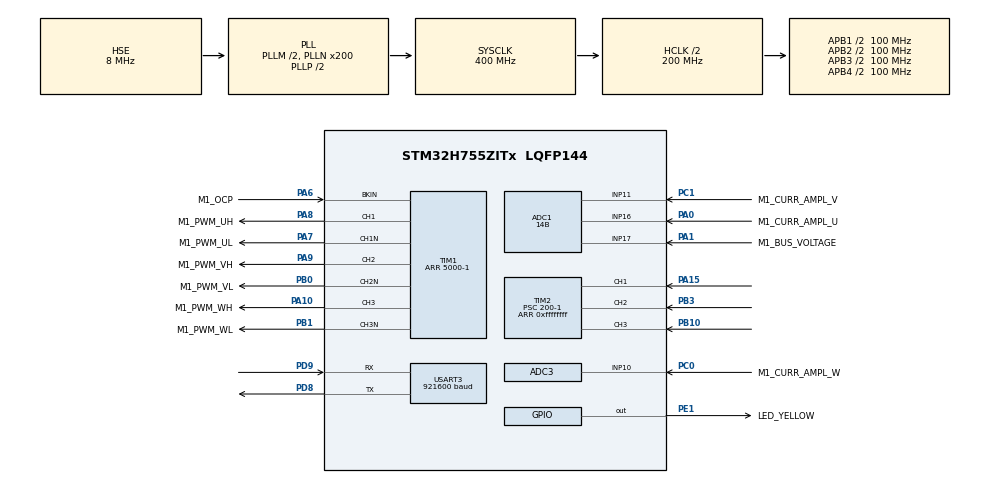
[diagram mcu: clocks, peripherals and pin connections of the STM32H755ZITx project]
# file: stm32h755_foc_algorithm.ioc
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ADC1.Channel-2\#ChannelRegularConversion=ADC_CHANNEL_11
ADC1.EnableInjectedConversion=ENABLE
ADC1.ExternalTrigInjecConv=ADC_EXTERNALTRIGINJEC_T1_TRGO
ADC1.InjNumberOfConversion=2
ADC1.InjectedChannel-3\#ChannelInjectedConversion=ADC_CHANNEL_11
ADC1.InjectedChannel-4\#ChannelInjectedConversion=ADC_CHANNEL_11
ADC1.InjectedConvMode=Discontinuous
ADC1.InjectedOffsetNumber-3\#ChannelInjectedConversion=ADC_OFFSET_NONE
ADC1.InjectedOffsetNumber-4\#ChannelInjectedConversion=ADC_OFFSET_NONE
ADC1.InjectedOffsetSaturation-3\#ChannelInjectedConversion=DISABLE
ADC1.InjectedOffsetSaturation-4\#ChannelInjectedConversion=DISABLE
ADC1.InjectedRank-3\#ChannelInjectedConversion=1
ADC1.InjectedRank-4\#ChannelInjectedConversion=2
ADC1.InjectedSamplingTime-3\#ChannelInjectedConversion=ADC_SAMPLETIME_1CYCLE_5
ADC1.InjectedSamplingTime-4\#ChannelInjectedConversion=ADC_SAMPLETIME_1CYCLE_5
ADC1.LeftBitShift=ADC_LEFTBITSHIFT_2
ADC1.NbrOfConversionFlag=1
ADC1.OffsetNumber-2\#ChannelRegularConversion=ADC_OFFSET_NONE
ADC1.OffsetSignedSaturation-2\#ChannelRegularConversion=DISABLE
ADC1.Rank-2\#ChannelRegularConversion=1
ADC1.Resolution=ADC_RESOLUTION_14B
ADC1.SamplingTime-2\#ChannelRegularConversion=ADC_SAMPLETIME_1CYCLE_5
ADC1.master=1
ADC3.EnableInjectedConversion=ENABLE
ADC3.EnableRegularConversion=DISABLE
ADC3.ExternalTrigInjecConv=ADC_EXTERNALTRIGINJEC_T1_TRGO
ADC3.InjNumberOfConversion=2
ADC3.InjectedChannel-3\#ChannelInjectedConversion=ADC_CHANNEL_11
ADC3.InjectedChannel-4\#ChannelInjectedConversion=ADC_CHANNEL_11
ADC3.InjectedConvMode=Discontinuous
ADC3.InjectedOffsetNumber-3\#ChannelInjectedConversion=ADC_OFFSET_NONE
ADC3.InjectedOffsetNumber-4\#ChannelInjectedConversion=ADC_OFFSET_NONE
ADC3.InjectedOffsetSaturation-3\#ChannelInjectedConversion=DISABLE
ADC3.InjectedOffsetSaturation-4\#ChannelInjectedConversion=DISABLE
ADC3.InjectedRank-3\#ChannelInjectedConversion=1
ADC3.InjectedRank-4\#ChannelInjectedConversion=2
ADC3.InjectedSamplingTime-3\#ChannelInjectedConversion=ADC_SAMPLETIME_1CYCLE_5
ADC3.InjectedSamplingTime-4\#ChannelInjectedConversion=ADC_SAMPLETIME_1CYCLE_5
ADC3.LeftBitShift=ADC_LEFTBITSHIFT_2
ADC3.Resolution=ADC_RESOLUTION_14B
CORTEX_M7.default_mode_Activation=1
CortexM4.IPs=CORTEX_M4\:I,FATFS_M4\:I,FREERTOS_M4\:I,IWDG2\:I,OPENAMP_M4\:I,PDM2PCM_M4\:I,PWR,RCC,RESMGR_UTILITY,SYS_M4\:I,USB_DEVICE_M4\:I,USB_HOST_M4\:I,VREFBUF,WWDG2\:I,GPIO,DMA,BDMA,MDMA,NVIC2\:I
CortexM7.IPs=CORTEX_M7\:I,FATFS_M7\:I,FREERTOS_M7\:I,IWDG1\:I,OPENAMP_M7\:I,PDM2PCM_M7\:I,PWR\:I,RCC\:I,RESMGR_UTILITY\:I,SYS\:I,USB_DEVICE_M7\:I,USB_HOST_M7\:I,VREFBUF\:I,WWDG1\:I,GPIO\:I,DMA\:I,BDMA\:I,MDMA\:I,NVIC1\:I,USART3\:I,TIM1\:I,TIM2\:I,TIM6\:I,ADC1\:I,ADC3\:I
CortexM7.Pins=PE1
Mcu.Family=STM32H7
Mcu.Name=STM32H755ZITx
Mcu.Package=LQFP144
NVIC1.ADC_IRQn=true\:0\:0\:false\:false\:true\:true\:true\:true
NVIC1.PriorityGroup=NVIC_PRIORITYGROUP_4
NVIC1.TIM1_UP_IRQn=true\:0\:0\:false\:false\:true\:true\:true\:true
NVIC1.TIM2_IRQn=true\:0\:0\:false\:false\:true\:true\:true\:true
NVIC1.TIM6_DAC_IRQn=true\:0\:0\:false\:false\:true\:true\:true\:true
NVIC1.USART3_IRQn=true\:0\:0\:false\:false\:true\:true\:true\:true
NVIC2.PriorityGroup=NVIC_PRIORITYGROUP_4
PA0.GPIO_Label=M1_CURR_AMPL_U
PA0.Mode=IN16-Single-Ended
PA0.PinAttribute=CortexM7
PA0.Signal=ADC1_INP16
PA1.GPIO_Label=M1_BUS_VOLTAGE
PA1.Mode=IN17-Single-Ended
PA1.PinAttribute=CortexM7
PA1.Signal=ADC1_INP17
PA10.GPIO_Label=M1_PWM_WH
PA10.GPIO_PuPd=GPIO_PULLDOWN
PA10.GPIO_Speed=GPIO_SPEED_FREQ_HIGH
PA10.PinAttribute=CortexM7
PA10.Signal=S_TIM1_CH3
PA15\ (JTDI).PinAttribute=CortexM7
PA15\ (JTDI).Signal=S_TIM2_CH1_ETR
PA6.GPIO_Label=M1_OCP
PA6.GPIO_PuPd=GPIO_PULLUP
PA6.Mode=Activate-Break-Input
PA6.PinAttribute=CortexM7
PA6.Signal=TIM1_BKIN
PA7.GPIO_Label=M1_PWM_UL
PA7.GPIO_PuPd=GPIO_PULLUP
PA7.GPIO_Speed=GPIO_SPEED_FREQ_HIGH
PA7.Mode=PWM Generation1 CH1 CH1N
PA7.PinAttribute=CortexM7
PA7.Signal=TIM1_CH1N
PA8.GPIO_Label=M1_PWM_UH
PA8.GPIO_PuPd=GPIO_PULLDOWN
PA8.GPIO_Speed=GPIO_SPEED_FREQ_HIGH
PA8.PinAttribute=CortexM7
PA8.Signal=S_TIM1_CH1
PA9.GPIO_Label=M1_PWM_VH
PA9.GPIO_PuPd=GPIO_PULLDOWN
PA9.GPIO_Speed=GPIO_SPEED_FREQ_HIGH
PA9.PinAttribute=CortexM7
PA9.Signal=S_TIM1_CH2
PB0.GPIO_Label=M1_PWM_VL
PB0.GPIO_PuPd=GPIO_PULLUP
PB0.GPIO_Speed=GPIO_SPEED_FREQ_HIGH
PB0.Mode=PWM Generation2 CH2 CH2N
PB0.PinAttribute=CortexM7
PB0.Signal=TIM1_CH2N
PB1.GPIO_Label=M1_PWM_WL
PB1.GPIO_PuPd=GPIO_PULLUP
PB1.GPIO_Speed=GPIO_SPEED_FREQ_HIGH
PB1.Mode=PWM Generation3 CH3 CH3N
PB1.PinAttribute=CortexM7
PB1.Signal=TIM1_CH3N
PB10.PinAttribute=CortexM7
PB10.Signal=S_TIM2_CH3
PB3\ (JTDO/TRACESWO).PinAttribute=CortexM7
PB3\ (JTDO/TRACESWO).Signal=S_TIM2_CH2
PC0.GPIO_Label=M1_CURR_AMPL_W
PC0.PinAttribute=CortexM7
PC0.Signal=ADCx_INP10
PC1.GPIO_Label=M1_CURR_AMPL_V
PC1.PinAttribute=CortexM7
PC1.Signal=ADCx_INP11
PD8.Mode=Asynchronous
PD8.PinAttribute=CortexM7
PD8.Signal=USART3_TX
PD9.Mode=Asynchronous
PD9.PinAttribute=CortexM7
PD9.Signal=USART3_RX
PE1.GPIO_Label=LED_YELLOW
PE1.GPIO_ModeDefaultOutputPP=GPIO_MODE_OUTPUT_PP
PE1.GPIO_PuPd=GPIO_PULLUP
PE1.PinAttribute=CortexM7
PE1.PinState=GPIO_PIN_SET
PE1.Signal=GPIO_Output
PH0-OSC_IN\ (PH0).Mode=HSE-External-Clock-Source
PH0-OSC_IN\ (PH0).PinAttribute=Free
PH0-OSC_IN\ (PH0).Signal=RCC_OSC_IN
ProjectManager.HeapSize=M4-0x200,M7-0x200
ProjectManager.StackSize=M4-0x400,M7-0x400
ProjectManager.TargetToolchain=STM32CubeIDE
RCC.ADCFreq_Value=48000000
RCC.APB1Freq_Value=100000000
RCC.APB2Freq_Value=100000000
RCC.APB3Freq_Value=100000000
RCC.APB4Freq_Value=100000000
RCC.CortexFreq_Value=400000000
RCC.D1PPRE=RCC_APB3_DIV2
RCC.D2PPRE1=RCC_APB1_DIV2
RCC.D2PPRE2=RCC_APB2_DIV2
RCC.D3PPRE=RCC_APB4_DIV2
RCC.DIVM1=2
RCC.DIVM2=4
RCC.DIVN1=200
RCC.DIVN2=96
RCC.DIVP2=4
RCC.HCLKFreq_Value=200000000
RCC.HPRE=RCC_HCLK_DIV2
RCC.HSE_VALUE=8000000
RCC.PLLSourceVirtual=RCC_PLLSOURCE_HSE
RCC.SYSCLKFreq_VALUE=400000000
RCC.SYSCLKSource=RCC_SYSCLKSOURCE_PLLCLK
RCC.USBFreq_Value=400000000
SH.ADCx_INP10.0=ADC3_INP10,IN10-Single-Ended
SH.ADCx_INP11.0=ADC1_INP11,IN11-Single-Ended
SH.ADCx_INP11.1=ADC3_INP11,IN11-Single-Ended
SH.S_TIM1_CH1.0=TIM1_CH1,PWM Generation1 CH1 CH1N
SH.S_TIM1_CH2.0=TIM1_CH2,PWM Generation2 CH2 CH2N
SH.S_TIM1_CH3.0=TIM1_CH3,PWM Generation3 CH3 CH3N
SH.S_TIM2_CH1_ETR.0=TIM2_CH1,Xored_Inputs_Hall_Sensor_Interface
SH.S_TIM2_CH2.0=TIM2_CH2,Xored_Inputs_Hall_Sensor_Interface
SH.S_TIM2_CH3.0=TIM2_CH3,Xored_Inputs_Hall_Sensor_Interface
SYS.userName=SYS_M7
TIM1.AutoReloadPreload=TIM_AUTORELOAD_PRELOAD_ENABLE
TIM1.BreakFilter=15
TIM1.BreakPolarity=TIM_BREAKPOLARITY_LOW
TIM1.Channel-PWM\ Generation1\ CH1\ CH1N=TIM_CHANNEL_1
TIM1.Channel-PWM\ Generation2\ CH2\ CH2N=TIM_CHANNEL_2
TIM1.Channel-PWM\ Generation3\ CH3\ CH3N=TIM_CHANNEL_3
TIM1.Channel-PWM\ Generation4\ No\ Output=TIM_CHANNEL_4
TIM1.CounterMode=TIM_COUNTERMODE_CENTERALIGNED1
TIM1.DeadTime=100
TIM1.LockLevel=TIM_LOCKLEVEL_OFF
TIM1.OffStateIDLEMode=TIM_OSSI_ENABLE
TIM1.OffStateRunMode=TIM_OSSR_ENABLE
TIM1.Period=5000-1
TIM1.RepetitionCounter=1
TIM1.SourceBRKDigInput=TIM_BREAKINPUTSOURCE_DISABLE
TIM1.TIM_MasterOutputTrigger=TIM_TRGO_UPDATE
TIM2.AutoReloadPreload=TIM_AUTORELOAD_PRELOAD_ENABLE
TIM2.IC1Filter=15
TIM2.Period=0xffffffff
TIM2.Prescaler=200-1
TIM6.AutoReloadPreload=TIM_AUTORELOAD_PRELOAD_ENABLE
TIM6.Period=10000-1
TIM6.Prescaler=20000-1
TIM6.TIM_MasterOutputTrigger=TIM_TRGO_UPDATE
USART3.BaudRate=921600
USART3.VirtualMode-Asynchronous=VM_ASYNC
VP_SYS_M4_VS_Systick.Mode=SysTick
VP_TIM1_VS_no_output4.Mode=PWM Generation4 No Output
VP_TIM2_VS_ClockSourceINT.Mode=Internal
VP_TIM6_VS_ClockSourceINT.Mode=Enable_Timer
board=custom

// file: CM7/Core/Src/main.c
/* USER CODE BEGIN Header */
/**
  ******************************************************************************
  * @file           : main.c
  * @brief          : Main program body
  ******************************************************************************
  * @attention
  *
  * Copyright (c) 2026 STMicroelectronics.
  * All rights reserved.
  *
  * This software is licensed under terms that can be found in the LICENSE file
  * in the root directory of this software component.
  * If no LICENSE file comes with this software, it is provided AS-IS.
  *
  ******************************************************************************
  */
/* USER CODE END Header */
#include "main.h"
#include "adc.h"
#include "tim.h"
#include "usart.h"
#include "gpio.h"

/* USER CODE BEGIN Includes */
#include <stdio.h>

/* USER CODE END Includes */

/* USER CODE BEGIN PD */

/* DUAL_CORE_BOOT_SYNC_SEQUENCE: Define for dual core boot synchronization    */
/*                             demonstration code based on hardware semaphore */
/* This define is present in both CM7/CM4 projects                            */
/* To comment when developping/debugging on a single core                     */
#define DUAL_CORE_BOOT_SYNC_SEQUENCE

#if defined(DUAL_CORE_BOOT_SYNC_SEQUENCE)
#ifndef HSEM_ID_0
#define HSEM_ID_0 (0U) /* HW semaphore 0*/
#endif
#endif /* DUAL_CORE_BOOT_SYNC_SEQUENCE */

/* USER CODE END PD */

/* USER CODE BEGIN PV */
// Unprocessed data just from the ADC registers
volatile uint16_t 	raw_PhaseA_current[1] = {0};
volatile uint16_t	raw_PhaseB_current[1] = {0};
volatile uint16_t	raw_PhaseC_current[1] = {0};

// Processed, signed 16-bit integers after subtracting the 1.65V offset
volatile int16_t		PhaseA_current = 0;
volatile int16_t		PhaseB_current = 0;
volatile int16_t		phaseC_current = 0;

volatile uint16_t		timer6_flag= 0;
/* USER CODE END PV */

void SystemClock_Config(void);
void PeriphCommonClock_Config(void);
static void MPU_Config(void);

int main(void)
{

/* USER CODE BEGIN Boot_Mode_Sequence_0 */
#if defined(DUAL_CORE_BOOT_SYNC_SEQUENCE)
  int32_t timeout;
#endif /* DUAL_CORE_BOOT_SYNC_SEQUENCE */
/* USER CODE END Boot_Mode_Sequence_0 */

  /* MPU Configuration--------------------------------------------------------*/
  MPU_Config();

/* USER CODE BEGIN Boot_Mode_Sequence_1 */
#if defined(DUAL_CORE_BOOT_SYNC_SEQUENCE)
  /* Wait until CPU2 boots and enters in stop mode or timeout*/
  timeout = 0x0FFFFFFF;
  while((__HAL_RCC_GET_FLAG(RCC_FLAG_D2CKRDY) != RESET) && (timeout-- > 0));
  if ( timeout < 0 )
  {
  Error_Handler();
  }
#endif /* DUAL_CORE_BOOT_SYNC_SEQUENCE */
/* USER CODE END Boot_Mode_Sequence_1 */
  /* MCU Configuration--------------------------------------------------------*/

  /* Reset of all peripherals, Initializes the Flash interface and the Systick. */
  HAL_Init();

  /* Configure the system clock */
  SystemClock_Config();

  /* Configure the peripherals common clocks */
  PeriphCommonClock_Config();
/* USER CODE BEGIN Boot_Mode_Sequence_2 */
#if defined(DUAL_CORE_BOOT_SYNC_SEQUENCE)
/* When system initialization is finished, Cortex-M7 will release Cortex-M4 by means of
HSEM notification */
/*HW semaphore Clock enable*/
__HAL_RCC_HSEM_CLK_ENABLE();
/*Take HSEM */
HAL_HSEM_FastTake(HSEM_ID_0);
/*Release HSEM in order to notify the CPU2(CM4)*/
HAL_HSEM_Release(HSEM_ID_0,0);
/* wait until CPU2 wakes up from stop mode */
timeout = 0xFFFF;
while((__HAL_RCC_GET_FLAG(RCC_FLAG_D2CKRDY) == RESET) && (timeout-- > 0));
if ( timeout < 0 )
{
Error_Handler();
}
#endif /* DUAL_CORE_BOOT_SYNC_SEQUENCE */
/* USER CODE END Boot_Mode_Sequence_2 */

  /* Initialize all configured peripherals */
  MX_GPIO_Init();
  MX_USART3_UART_Init();
  MX_TIM1_Init();
  MX_ADC1_Init();
  MX_ADC3_Init();
  MX_TIM2_Init();
  MX_TIM6_Init();
  /* USER CODE BEGIN 2 */

  printf("--- Starting Minimal 3-Channel Hardware Test ---\r\n");

  // 1. Set explicit, distinct static duty cycles for each phase
  // Assuming your ARR (Period) is set to something like 2000 or 4000:
  uint32_t period = __HAL_TIM_GET_AUTORELOAD(&htim1);

  __HAL_TIM_SET_COMPARE(&htim1, TIM_CHANNEL_1, (period * 25) / 100);  // 25% Duty Cycle
  __HAL_TIM_SET_COMPARE(&htim1, TIM_CHANNEL_2, (period * 50) / 100);  // 50% Duty Cycle
  __HAL_TIM_SET_COMPARE(&htim1, TIM_CHANNEL_3, (period * 75) / 100);  // 75% Duty Cycle

  // 2. Start all 3 High-Side and Low-Side Complementary PWM outputs
  HAL_TIM_PWM_Start(&htim1, TIM_CHANNEL_1);
  HAL_TIMEx_PWMN_Start(&htim1, TIM_CHANNEL_1);

  HAL_TIM_PWM_Start(&htim1, TIM_CHANNEL_2);
  HAL_TIMEx_PWMN_Start(&htim1, TIM_CHANNEL_2);

  HAL_TIM_PWM_Start(&htim1, TIM_CHANNEL_3);
  HAL_TIMEx_PWMN_Start(&htim1, TIM_CHANNEL_3);

  // 3. Clear any transient power-on Break Fault states
  __HAL_TIM_CLEAR_FLAG(&htim1, TIM_FLAG_BREAK);

  // 4. Force fully arm the Master Output Enable (MOE) bit
  __HAL_TIM_MOE_ENABLE(&htim1);

  printf("Static PWM signals are now active. Check UVW terminals.\r\n");

  /* USER CODE END 2 */

  /* Infinite loop */
  while (1)
  {

    /* USER CODE BEGIN 3 */
	  if (timer6_flag == 1)
	  {
		  timer6_flag = 0;
		  HAL_GPIO_TogglePin(LED_YELLOW_GPIO_Port, LED_YELLOW_Pin);

		  uint32_t cr1  = TIM1->CR1;
		  uint32_t bdtr = TIM1->BDTR;
		  uint32_t ccer = TIM1->CCER;

		  printf("--- TIM1 PWM Audit ---\r\n");
		  printf("Timer Enabled (CEN): %s\r\n",  (cr1 & (1 << 0)) ? "YES" : "NO");
		  printf("Counter Moving (CNT): %lu\r\n", TIM1->CNT);
		  printf("Target Period (ARR):  %lu\r\n", TIM1->ARR);
		  printf("Duty Cycle (CCR1):    %lu\r\n", TIM1->CCR1);

		  // Advanced Timer specific checks
		  printf("Outputs Master Enable (MOE): %s\r\n", (bdtr & (1 << 15)) ? "ON" : "OFF (Pins Dead!)");
		  printf("Channel 1 Output Enable (CC1E): %s\r\n", (ccer & (1 << 0)) ? "ON" : "OFF");
		  printf("----------------------\r\n");
	  }

  }
  /* USER CODE END 3 */
}

void SystemClock_Config(void)
{
  RCC_OscInitTypeDef RCC_OscInitStruct = {0};
  RCC_ClkInitTypeDef RCC_ClkInitStruct = {0};

  /** Supply configuration update enable
  */
  HAL_PWREx_ConfigSupply(PWR_DIRECT_SMPS_SUPPLY);

  /** Configure the main internal regulator output voltage
  */
  __HAL_PWR_VOLTAGESCALING_CONFIG(PWR_REGULATOR_VOLTAGE_SCALE1);

  while(!__HAL_PWR_GET_FLAG(PWR_FLAG_VOSRDY)) {}

  /** Initializes the RCC Oscillators according to the specified parameters
  * in the RCC_OscInitTypeDef structure.
  */
  RCC_OscInitStruct.OscillatorType = RCC_OSCILLATORTYPE_HSE;
  RCC_OscInitStruct.HSEState = RCC_HSE_BYPASS;
  RCC_OscInitStruct.PLL.PLLState = RCC_PLL_ON;
  RCC_OscInitStruct.PLL.PLLSource = RCC_PLLSOURCE_HSE;
  RCC_OscInitStruct.PLL.PLLM = 2;
  RCC_OscInitStruct.PLL.PLLN = 200;
  RCC_OscInitStruct.PLL.PLLP = 2;
  RCC_OscInitStruct.PLL.PLLQ = 2;
  RCC_OscInitStruct.PLL.PLLR = 2;
  RCC_OscInitStruct.PLL.PLLRGE = RCC_PLL1VCIRANGE_2;
  RCC_OscInitStruct.PLL.PLLVCOSEL = RCC_PLL1VCOWIDE;
  RCC_OscInitStruct.PLL.PLLFRACN = 0;
  if (HAL_RCC_OscConfig(&RCC_OscInitStruct) != HAL_OK)
  {
    Error_Handler();
  }

  /** Initializes the CPU, AHB and APB buses clocks
  */
  RCC_ClkInitStruct.ClockType = RCC_CLOCKTYPE_HCLK|RCC_CLOCKTYPE_SYSCLK
                              |RCC_CLOCKTYPE_PCLK1|RCC_CLOCKTYPE_PCLK2
                              |RCC_CLOCKTYPE_D3PCLK1|RCC_CLOCKTYPE_D1PCLK1;
  RCC_ClkInitStruct.SYSCLKSource = RCC_SYSCLKSOURCE_PLLCLK;
  RCC_ClkInitStruct.SYSCLKDivider = RCC_SYSCLK_DIV1;
  RCC_ClkInitStruct.AHBCLKDivider = RCC_HCLK_DIV2;
  RCC_ClkInitStruct.APB3CLKDivider = RCC_APB3_DIV2;
  RCC_ClkInitStruct.APB1CLKDivider = RCC_APB1_DIV2;
  RCC_ClkInitStruct.APB2CLKDivider = RCC_APB2_DIV2;
  RCC_ClkInitStruct.APB4CLKDivider = RCC_APB4_DIV2;

  if (HAL_RCC_ClockConfig(&RCC_ClkInitStruct, FLASH_LATENCY_2) != HAL_OK)
  {
    Error_Handler();
  }
}

void PeriphCommonClock_Config(void)
{
  RCC_PeriphCLKInitTypeDef PeriphClkInitStruct = {0};

  /** Initializes the peripherals clock
  */
  PeriphClkInitStruct.PeriphClockSelection = RCC_PERIPHCLK_ADC;
  PeriphClkInitStruct.PLL2.PLL2M = 4;
  PeriphClkInitStruct.PLL2.PLL2N = 96;
  PeriphClkInitStruct.PLL2.PLL2P = 4;
  PeriphClkInitStruct.PLL2.PLL2Q = 2;
  PeriphClkInitStruct.PLL2.PLL2R = 2;
  PeriphClkInitStruct.PLL2.PLL2RGE = RCC_PLL2VCIRANGE_1;
  PeriphClkInitStruct.PLL2.PLL2VCOSEL = RCC_PLL2VCOWIDE;
  PeriphClkInitStruct.PLL2.PLL2FRACN = 0;
  PeriphClkInitStruct.AdcClockSelection = RCC_ADCCLKSOURCE_PLL2;
  if (HAL_RCCEx_PeriphCLKConfig(&PeriphClkInitStruct) != HAL_OK)
  {
    Error_Handler();
  }
}

/* USER CODE BEGIN 4 */
#define PUTCHAR_PROTOTYPE int __io_putchar(int ch)

PUTCHAR_PROTOTYPE
{
  /* Replace &huart1 with whichever UART instance you assigned to CM7 in CubeMX */
  HAL_UART_Transmit(&huart3, (uint8_t *)&ch, 1, HAL_MAX_DELAY);
  return ch;
}

int _write(int file, char *ptr, int len)
{
  int DataIdx;
  for (DataIdx = 0; DataIdx < len; DataIdx++)
  {
    __io_putchar(*ptr++);
  }
  return len;
}

/* USER CODE END 4 */

 /* MPU Configuration */

void MPU_Config(void)
{
  MPU_Region_InitTypeDef MPU_InitStruct = {0};

  /* Disables the MPU */
  HAL_MPU_Disable();

  /** Initializes and configures the Region and the memory to be protected
  */
  MPU_InitStruct.Enable = MPU_REGION_ENABLE;
  MPU_InitStruct.Number = MPU_REGION_NUMBER0;
  MPU_InitStruct.BaseAddress = 0x0;
  MPU_InitStruct.Size = MPU_REGION_SIZE_4GB;
  MPU_InitStruct.SubRegionDisable = 0x87;
  MPU_InitStruct.TypeExtField = MPU_TEX_LEVEL0;
  MPU_InitStruct.AccessPermission = MPU_REGION_NO_ACCESS;
  MPU_InitStruct.DisableExec = MPU_INSTRUCTION_ACCESS_DISABLE;
  MPU_InitStruct.IsShareable = MPU_ACCESS_SHAREABLE;
  MPU_InitStruct.IsCacheable = MPU_ACCESS_NOT_CACHEABLE;
  MPU_InitStruct.IsBufferable = MPU_ACCESS_NOT_BUFFERABLE;

  HAL_MPU_ConfigRegion(&MPU_InitStruct);
  /* Enables the MPU */
  HAL_MPU_Enable(MPU_PRIVILEGED_DEFAULT);

}

void Error_Handler(void)
{
  __disable_irq();
  while (1)
  {
  }
}
